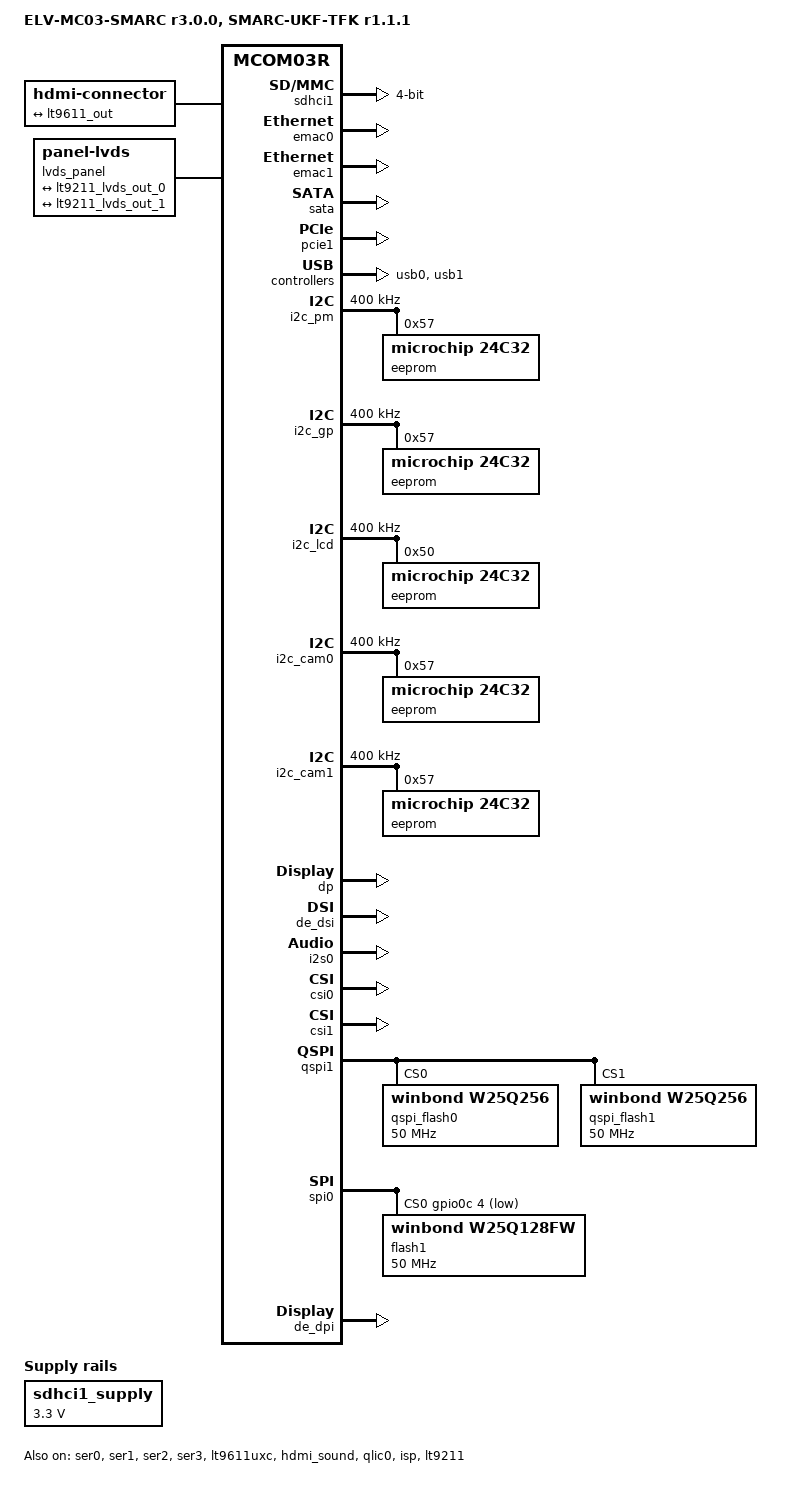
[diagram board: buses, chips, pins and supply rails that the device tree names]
// SPDX-License-Identifier: GPL-2.0+
// Copyright 2025 RnD Center "ELVEES", JSC

/dts-v1/;

#include "mcom03r-elvmc03smarc-r3.0.0.dtsi"

#include <dt-bindings/gpio/gpio.h>
#include <dt-bindings/input/input.h>

/ {
	model = "ELV-MC03-SMARC r3.0.0, SMARC-UKF-TFK r1.1.1";
	compatible = "elvees,elvmc03smarc-r3.0.0-smarc-ukf-tfk-r1.1.1",
		     "elvees,elvmc03smarc-smarc-ukf-tfk",
		     "elvees,smarc-ukf-tfk-r1.1.1",
		     "elvees,smarc-ukf-tfk",
		     "elvees,elvmc03smarc-r3.0.0",
		     "elvees,elvmc03smarc",
		     "elvees,mcom03r";

	chosen {
		stdout-path = "serial0:115200n8";
	};

	// XS3 on UKF
	hdmi_connector: hdmi-connector {
		compatible = "hdmi-connector";
		label = "hdmi";

		type = "a";

		port {
			hdmi_connector_in: endpoint {
				remote-endpoint = <&lt9611_out>;
			};
		};
	};

	sdhci1_supply: regulator-sdhci1@0 {
		compatible = "regulator-fixed";
		regulator-name = "sdhci1-supply";
		regulator-min-microvolt = <3300000>;
		regulator-max-microvolt = <3300000>;
		regulator-always-on;
	};

	lvds_panel: panel {
		compatible = "panel-lvds";

		width-mm = <527>;
		height-mm = <296>;

		data-mapping = "vesa-24";

		panel-timing {
			clock-frequency = <148500000>;
			hactive = <1920>;
			vactive = <1080>;
			// VESA Display Monitor Timing Standard
			hfront-porch = <88>;
			hback-porch = <148>;
			hsync-len = <44>;
			vsync-len = <5>;
			vfront-porch = <4>;
			vback-porch = <36>;

			de-active = <0>;
			vsync-active = <0>;
			hsync-active = <0>;
		};

		ports {
			#address-cells = <1>;
			#size-cells = <0>;

			port@0 {
				reg = <0>;
				dual-lvds-odd-pixels;

				panel_input_0: endpoint {
					remote-endpoint = <&lt9211_lvds_out_0>;
				};
			};

			port@1 {
				reg = <1>;
				dual-lvds-even-pixels;

				panel_input_1: endpoint {
					remote-endpoint = <&lt9211_lvds_out_1>;
				};
			};
		};
	};
};

// Connected to DD3 - 4-bit eMMC at 3.3V supply
&sdhci1 {
	status = "okay";
	bus-width = <4>;
	vqmmc-supply = <&sdhci1_supply>;
};

&emac0 {
	status = "okay";
};

&emac1 {
	status = "okay";
};

// Loopback
&ser0 {
	status = "okay";

	pinctrl-names = "default";
	pinctrl-0 = <&uart3_mux_data &uart3_mux_rtscts>;
};

// SA2 switch select: XP16 or FPGA
&ser1 {
	status = "okay";
};

// Loopback
&ser2 {
	status = "okay";
};

// Loopback
&ser3 {
	status = "okay";
};

// Connected to XS4
&sata {
	status = "okay";
};

// Connected to XS5
&pcie1 {
	status = "okay";
};

// Connected to HUB on SMARC
&usb0 {
	status = "okay";
};

// Connected to XS3
&usb1 {
	status = "okay";
};

&i2c_pm {
	status = "okay";
	clock-frequency = <400000>;

	eeprom@57 {
		compatible = "microchip,24c32", "atmel,24c32";
		reg = <0x57>;
	};
};

&i2c_gp {
	status = "okay";
	clock-frequency = <400000>;

	eeprom@57 {
		compatible = "microchip,24c32", "atmel,24c32";
		reg = <0x57>;
	};
};

&i2c_lcd {
	status = "okay";
	clock-frequency = <400000>;

	eeprom@50 {
		compatible = "microchip,24c32", "atmel,24c32";
		reg = <0x50>;
	};
};

&i2c_cam0 {
	status = "okay";
	clock-frequency = <400000>;

	eeprom@57 {
		compatible = "microchip,24c32", "atmel,24c32";
		reg = <0x57>;
	};
};

&i2c_cam1 {
	status = "okay";
	clock-frequency = <400000>;

	eeprom@57 {
		compatible = "microchip,24c32", "atmel,24c32";
		reg = <0x57>;
	};
};

&lt9611uxc {
	status = "okay";

	ports {
		port@2 {
			reg = <2>;
			lt9611_out: endpoint {
				remote-endpoint = <&hdmi_connector_in>;
			};
		};
	};
};

&hdmi_sound {
	status = "okay";
};

&dp {
	status = "okay";
};

&de_dsi {
	status = "okay";
};

&qlic0 {
	status = "okay";
};

&i2s0 {
	status = "okay";
};

&isp {
	status = "okay";
};

&csi0 {
	status = "okay";
};

&csi1 {
	status = "okay";
};

&qspi1 {
	status = "okay";

	qspi_flash0: spi-nor@0 {
		#address-cells = <1>;
		#size-cells = <1>;
		compatible = "winbond,w25q256", "jedec,spi-nor", "spi-flash";
		reg = <0x0>;
		// Max Clock frequency for Quad I/O is 133 MHz.
		spi-max-frequency = <50000000>;
		m25p,fast-read;

		spi-rx-bus-width = <4>;
		spi-tx-bus-width = <4>;
	};

	qspi_flash1: spi-nor@1 {
		#address-cells = <1>;
		#size-cells = <1>;
		compatible = "winbond,w25q256", "jedec,spi-nor", "spi-flash";
		reg = <0x1>;
		// Max Clock frequency for Quad I/O is 133 MHz.
		spi-max-frequency = <50000000>;
		m25p,fast-read;

		spi-rx-bus-width = <4>;
		spi-tx-bus-width = <4>;
	};
};

&spi0 {
	status = "okay";
	num-cs = <1>;
	cs-gpios = <&gpio0c 4 GPIO_ACTIVE_LOW>;

	flash1: w25q128jw@0 {
		#address-cells = <1>;
		#size-cells = <1>;
		// Max Clock frequency for Read Data instruction (03h) is 50 MHz
		compatible = "winbond,w25q128fw", "jedec,spi-nor";
		spi-max-frequency = <50000000>;
		reg = <0x0>;
	};
};

// Use GPIO instead of I2S and CAN for testing
&mfbsp0_gpio {
	status = "okay";
	gpio-line-names = "", "I2S0_CK", "", "I2S0_LRCK", "I2S0_SDIN",
		"I2S0_SDOUT", "", "", "CAN0_RX", "CAN0_TX";
};

// Use GPIO instead of I2S and CAN for testing
&mfbsp1_gpio {
	status = "okay";
	gpio-line-names = "", "I2S2_CK", "", "I2S2_LRCK", "I2S2_SDIN",
		"I2S2_SDOUT", "", "", "CAN1_RX", "CAN1_TX";
};

&lsperiph1_pinctrl {
	pinctrl-names = "default";
	pinctrl-0 = <&gpio1_testing_default>;

	gpio1_testing_default: gpio1-pad-cfg {
		pins = "GPIOA_6",
		       "GPIOB_3",
		       "GPIOB_4",
		       "GPIOC_0",
		       "GPIOC_1",
		       "GPIOC_2",
		       "GPIOC_3",
		       "GPIOC_4",
		       "GPIOC_5",
		       "GPIOC_6",
		       "GPIOD_0",
		       "GPIOD_5";
		input-enable;
	};
};

&lt9211 {
	status = "okay";

	ports {
		// lvds-out
		port@2 {
			#address-cells = <1>;
			#size-cells = <0>;
			reg = <2>;

			lt9211_lvds_out_0: endpoint@1 {
				reg = <1>;
				remote-endpoint = <&panel_input_0>;
			};
		};

		port@3 {
			#address-cells = <1>;
			#size-cells = <0>;
			reg = <3>;

			lt9211_lvds_out_1: endpoint@1 {
				reg = <1>;
				remote-endpoint = <&panel_input_1>;
			};
		};
	};
};

&de_dpi {
	status = "okay";
};
